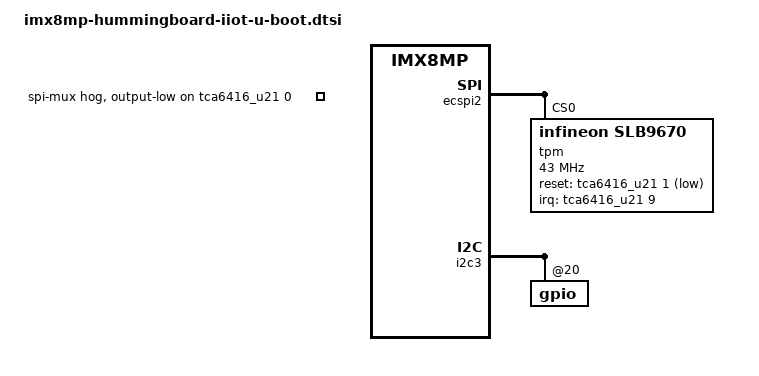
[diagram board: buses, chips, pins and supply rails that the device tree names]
// SPDX-License-Identifier: (GPL-2.0+ OR MIT)
/*
 * Copyright 2025 Josua Mayer <josua@solid-run.com>
 */

#include "imx8mp-sr-som-u-boot.dtsi"

&{/} {
	/* gpio-mux and spi-mux not supported in u-boot */
	/delete-node/ spi-mux-controller;
};

&ecspi2 {
	/* gpio-mux and spi-mux not supported in u-boot */
	/delete-node/ spi@0;

	/* describe tpm on mux channel 1 */
	tpm@0 {
		reg = <0>;
		compatible = "infineon,slb9670", "tcg,tpm_tis-spi";
		spi-max-frequency = <43000000>;
		reset-gpios = <&tca6416_u21 1 (GPIO_ACTIVE_LOW | GPIO_OPEN_DRAIN)>;
		interrupts-extended = <&tca6416_u21 9 IRQ_TYPE_EDGE_FALLING>;
	};
};

&i2c3 {
	gpio@20 {
		m2-b-reset-hog {
			/* assert to ensure M.2 devices receive reset (released from Linux) */
			output-high;
		};
	};
};

&tca6416_u21 {
	/* gpio-mux and spi-mux not supported in u-boot, hog to onboard tpm */
	spi-mux-hog {
		gpio-hog;
		gpios = <0 GPIO_ACTIVE_HIGH>;
		output-low;
		line-name = "spi-mux";
	};
};

&usb_dwc3_0 {
	compatible = "fsl,imx8mq-dwc3", "snps,dwc3";
	assigned-clocks = <&clk IMX8MP_CLK_HSIO_AXI>;
	assigned-clock-parents = <&clk IMX8MP_SYS_PLL1_800M>;
	assigned-clock-rates = <400000000>;
};

&usb_dwc3_1 {
	compatible = "fsl,imx8mq-dwc3", "snps,dwc3";
	assigned-clocks = <&clk IMX8MP_CLK_HSIO_AXI>;
	assigned-clock-parents = <&clk IMX8MP_SYS_PLL1_800M>;
	assigned-clock-rates = <400000000>;
};

&usdhc2 {
	bootph-all;
	sd-uhs-sdr104;
	sd-uhs-ddr50;
	assigned-clocks = <&clk IMX8MP_CLK_USDHC2>;
	assigned-clock-rates = <400000000>;
	assigned-clock-parents = <&clk IMX8MP_SYS_PLL1_400M>;
	fsl,signal-voltage-switch-extra-delay-ms = <8>;
};

&usdhc2_pins {
	bootph-all;
};

&reg_vmmc {
	bootph-all;
};
